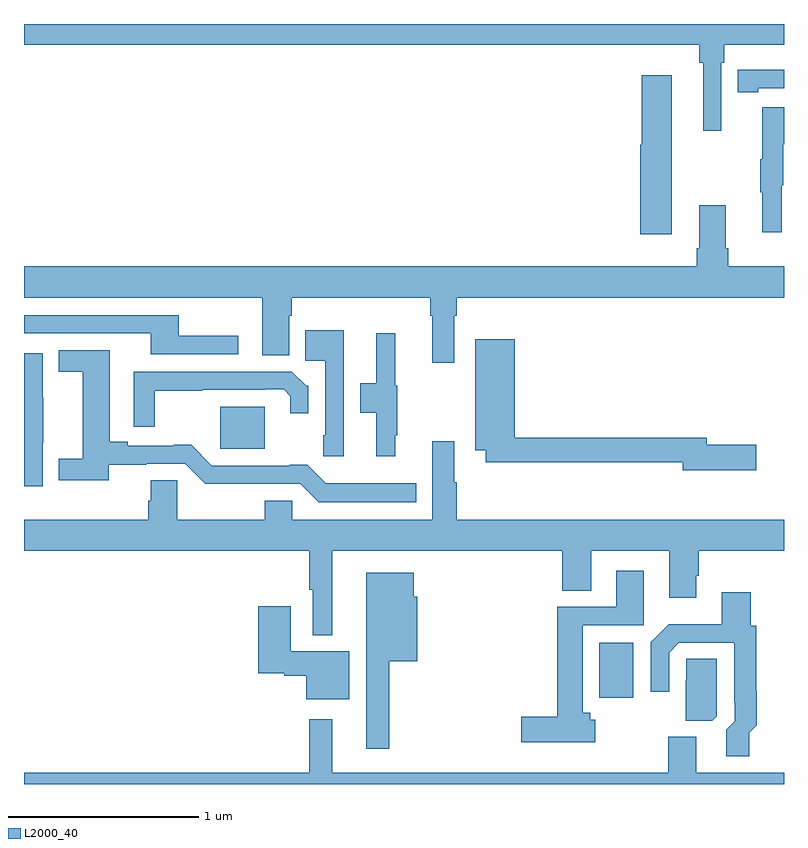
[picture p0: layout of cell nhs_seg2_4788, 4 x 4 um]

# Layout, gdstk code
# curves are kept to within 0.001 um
import gdstk
lib = gdstk.Library(unit=1e-6, precision=1e-09)
def R(c, l, rs):  # rectangles x0, y0, x1, y1
    for r in rs: c.add(gdstk.rectangle(r[:2], r[2:], *l))
def P(c, l, *ps):  # polygons
    for p in ps: c.add(gdstk.Polygon(p, *l))
L2000_40 = (2000, 40)

nhs_seg2_4788 = lib.new_cell('nhs_seg2_4788')
R(nhs_seg2_4788, L2000_40, [(376.028,588.254,376.207,588.544), (374.033,589.565,374.266,589.786)])
P(nhs_seg2_4788, L2000_40, [(376.671,591.596),(376.685,591.596),(376.685,591.692),(377,591.692),(377,591.8),(373,591.8),(373,591.692),(376.555,591.692),(376.555,591.596),(376.574,591.596),(376.574,591.237),(376.671,591.237)],
  [(376.864,591.462),(377,591.462),(377,591.559),(376.864,591.559),(376.864,591.558),(376.756,591.558),(376.756,591.442),(376.864,591.442)],
  [(376.408,591.529),(376.25,591.529),(376.25,591.165),(376.244,591.165),(376.244,590.694),(376.408,590.694)],
  [(376.988,590.952),(376.996,590.952),(376.996,591.166),(377,591.166),(377,591.361),(376.886,591.361),(376.886,591.089),(376.875,591.089),(376.875,590.915),(376.886,590.915),(376.886,590.703),(376.988,590.703)],
  [(375.265,590.264),(375.278,590.264),(375.278,590.36),(377,590.36),(377,590.524),(376.706,590.524),(376.706,590.62),(376.693,590.62),(376.693,590.845),(376.553,590.845),(376.553,590.62),(376.541,590.62),(376.541,590.524),(373,590.524),(373,590.36),(374.255,590.36),(374.255,590.056),(374.395,590.056),(374.395,590.264),(374.408,590.264),(374.408,590.36),(375.137,590.36),(375.137,590.264),(375.149,590.264),(375.149,590.016),(375.265,590.016)],
  [(374.128,590.159),(373.815,590.159),(373.815,590.268),(373,590.268),(373,590.172),(373.667,590.172),(373.667,590.061),(374.128,590.061)],
  [(374.682,590.188),(374.48,590.188),(374.48,590.028),(374.586,590.028),(374.586,589.636),(374.574,589.636),(374.574,589.524),(374.682,589.524)],
  [(374.954,589.636),(374.965,589.636),(374.965,589.896),(374.954,589.896),(374.954,590.173),(374.855,590.173),(374.855,589.908),(374.771,589.908),(374.771,589.753),(374.855,589.753),(374.855,589.524),(374.954,589.524)],
  [(376.855,589.586),(376.594,589.586),(376.594,589.622),(375.583,589.622),(375.583,590.14),(375.374,590.14),(375.374,589.556),(375.431,589.556),(375.431,589.494),(376.466,589.494),(376.466,589.451),(376.855,589.451)],
  [(375.064,589.384),(374.589,589.383),(374.491,589.481),(374.399,589.481),(374.399,589.476),(373.989,589.476),(373.879,589.586),(373.787,589.586),(373.787,589.581),(373.546,589.581),(373.546,589.601),(373.45,589.601),(373.45,590.083),(373.183,590.083),(373.183,589.969),(373.31,589.969),(373.31,589.511),(373.183,589.511),(373.183,589.4),(373.447,589.4),(373.447,589.48),(373.644,589.48),(373.644,589.485),(373.848,589.485),(373.955,589.379),(374.454,589.38),(374.551,589.283),(375.064,589.283)],
  [(373.098,589.597),(373.1,589.597),(373.1,589.832),(373.098,589.832),(373.098,590.068),(373,590.068),(373,589.929),(373.002,589.929),(373.002,589.464),(373,589.464),(373,589.367),(373.098,589.367)],
  [(373.687,589.87),(373.937,589.87),(373.937,589.875),(374.267,589.875),(374.267,589.878),(374.366,589.878),(374.402,589.842),(374.402,589.752),(374.496,589.752),(374.496,589.896),(374.485,589.896),(374.41,589.971),(373.578,589.971),(373.578,589.68),(373.687,589.68)],
  [(374.623,589.028),(375.833,589.028),(375.833,588.817),(375.985,588.817),(375.985,589.028),(376.397,589.028),(376.397,588.78),(376.537,588.78),(376.537,588.895),(376.55,588.895),(376.55,589.028),(377,589.028),(377,589.192),(375.278,589.192),(375.278,589.389),(375.265,589.389),(375.265,589.603),(375.149,589.603),(375.149,589.192),(374.412,589.192),(374.412,589.29),(374.266,589.29),(374.266,589.192),(373.806,589.192),(373.806,589.4),(373.667,589.4),(373.667,589.29),(373.655,589.29),(373.655,589.192),(373,589.192),(373,589.028),(374.502,589.028),(374.502,588.823),(374.519,588.823),(374.519,588.584),(374.623,588.584)],
  [(376.006,588.138),(375.981,588.138),(375.981,588.174),(375.94,588.174),(375.94,588.636),(376.261,588.636),(376.261,588.922),(376.118,588.922),(376.118,588.732),(375.806,588.732),(375.806,588.155),(375.618,588.155),(375.618,588.02),(376.006,588.02)],
  [(374.923,588.446),(375.07,588.446),(375.07,588.786),(375.052,588.786),(375.052,588.913),(374.801,588.913),(374.801,587.985),(374.923,587.985)],
  [(376.817,588.069),(376.856,588.108),(376.856,588.29),(376.853,588.29),(376.853,588.633),(376.826,588.633),(376.826,588.808),(376.673,588.808),(376.673,588.64),(376.393,588.64),(376.299,588.546),(376.299,588.285),(376.395,588.285),(376.395,588.492),(376.446,588.543),(376.737,588.543),(376.737,588.229),(376.74,588.229),(376.74,588.129),(376.697,588.086),(376.697,587.946),(376.817,587.946)],
  [(374.713,588.499),(374.404,588.499),(374.404,588.736),(374.234,588.736),(374.234,588.383),(374.37,588.383),(374.37,588.371),(374.486,588.371),(374.486,588.245),(374.713,588.245)],
  [(376.647,588.156),(376.647,588.458),(376.485,588.458),(376.485,588.347),(376.484,588.347),(376.484,588.133),(376.623,588.133)],
  [(377,587.86),(376.537,587.86),(376.537,588.048),(376.39,588.048),(376.39,587.86),(374.623,587.86),(374.623,588.142),(374.502,588.142),(374.502,587.86),(373,587.86),(373,587.8),(377,587.8)])

lib.write_gds('nhs_seg2_4788.gds')
